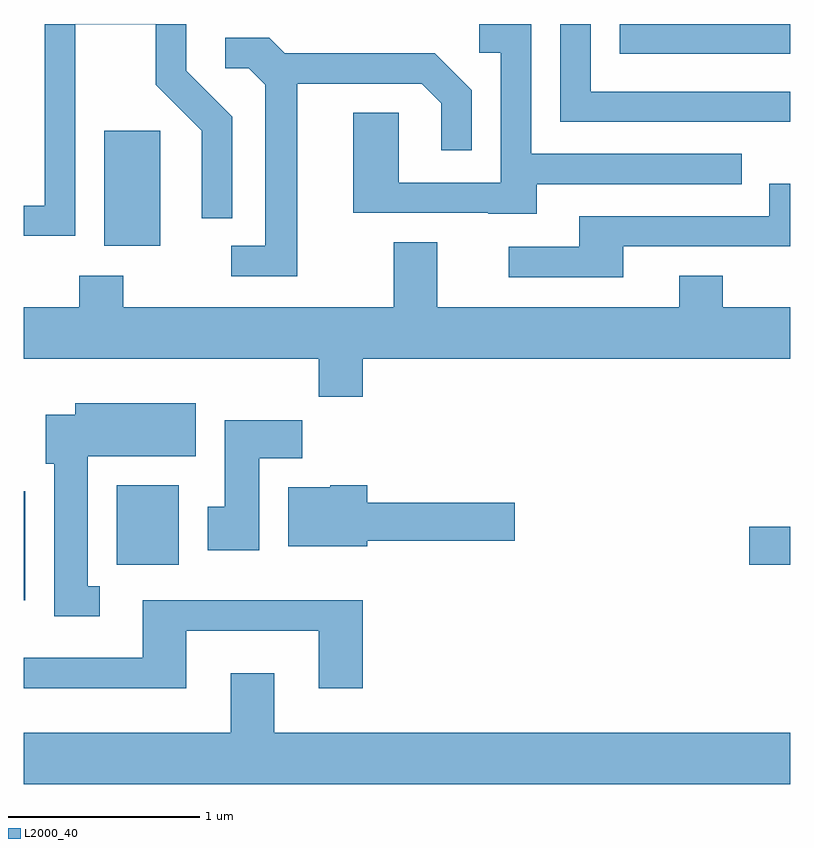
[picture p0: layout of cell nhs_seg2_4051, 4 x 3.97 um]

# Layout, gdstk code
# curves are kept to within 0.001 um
import gdstk
lib = gdstk.Library(unit=1e-6, precision=1e-09)
def R(c, l, rs):  # rectangles x0, y0, x1, y1
    for r in rs: c.add(gdstk.rectangle(r[:2], r[2:], *l))
def P(c, l, *ps):  # polygons
    for p in ps: c.add(gdstk.Polygon(p, *l))
L2000_40 = (2000, 40)

nhs_seg2_4051 = lib.new_cell('nhs_seg2_4051')
R(nhs_seg2_4051, L2000_40, [(303.611,1084.796,303.619,1085.364), (304.096,1084.981,304.419,1085.394), (307.396,1084.981,307.611,1085.179), (304.031,1086.646,304.324,1087.244), (306.721,1087.646,307.611,1087.802)])
P(nhs_seg2_4051, L2000_40, [(306.289,1086.966),(307.358,1086.966),(307.358,1087.124),(306.259,1087.124),(306.259,1087.802),(305.988,1087.802),(305.988,1087.651),(306.101,1087.651),(306.101,1086.974),(305.569,1086.974),(305.569,1087.339),(305.331,1087.339),(305.331,1086.816),(306.035,1086.816),(306.035,1086.811),(306.289,1086.811)],
  [(303.879,1087.801),(304.301,1087.801),(304.301,1087.484),(304.541,1087.244),(304.541,1086.788),(304.699,1086.788),(304.699,1087.317),(304.459,1087.557),(304.459,1087.802),(303.611,1087.802),(303.721,1087.801),(303.721,1086.854),(303.611,1086.854),(303.611,1086.696),(303.879,1086.696)],
  [(305.753,1087.802),(305.213,1087.802),(305.214,1087.801),(305.752,1087.801)],
  [(307.611,1087.449),(306.569,1087.449),(306.569,1087.802),(306.411,1087.802),(306.411,1087.291),(307.611,1087.291)],
  [(305.039,1087.491),(305.689,1087.491),(305.791,1087.389),(305.791,1087.143),(305.949,1087.143),(305.949,1087.457),(305.757,1087.649),(304.972,1087.649),(304.892,1087.729),(304.663,1087.729),(304.663,1087.571),(304.784,1087.571),(304.871,1087.484),(304.871,1086.644),(304.693,1086.644),(304.693,1086.486),(305.039,1086.486)],
  [(306.739,1086.641),(307.611,1086.641),(307.611,1086.969),(307.501,1086.969),(307.501,1086.799),(306.511,1086.799),(306.511,1086.639),(306.143,1086.639),(306.143,1086.481),(306.739,1086.481)],
  [(305.379,1086.056),(307.611,1086.056),(307.611,1086.324),(307.259,1086.324),(307.259,1086.489),(307.031,1086.489),(307.031,1086.324),(305.769,1086.324),(305.769,1086.664),(305.541,1086.664),(305.541,1086.324),(304.129,1086.324),(304.129,1086.489),(303.901,1086.489),(303.901,1086.324),(303.611,1086.324),(303.611,1086.056),(305.151,1086.056),(305.151,1085.856),(305.379,1085.856)],
  [(304.008,1084.869),(303.944,1084.869),(303.944,1085.546),(304.509,1085.546),(304.509,1085.824),(303.881,1085.824),(303.881,1085.764),(303.726,1085.764),(303.726,1085.506),(303.771,1085.506),(303.771,1084.711),(304.008,1084.711)],
  [(304.839,1085.536),(305.064,1085.536),(305.064,1085.734),(304.661,1085.734),(304.661,1085.284),(304.571,1085.284),(304.571,1085.056),(304.839,1085.056)],
  [(305.404,1085.106),(306.174,1085.106),(306.174,1085.304),(305.404,1085.304),(305.404,1085.394),(305.21,1085.394),(305.21,1085.384),(304.991,1085.384),(304.991,1085.076),(305.404,1085.076)],
  [(304.459,1084.636),(305.151,1084.636),(305.151,1084.336),(305.379,1084.336),(305.379,1084.794),(304.231,1084.794),(304.231,1084.494),(303.611,1084.494),(303.611,1084.336),(304.459,1084.336)],
  [(307.611,1084.104),(304.919,1084.104),(304.919,1084.414),(304.691,1084.414),(304.691,1084.104),(303.611,1084.104),(303.611,1083.836),(307.611,1083.836)])

lib.write_gds('nhs_seg2_4051.gds')
